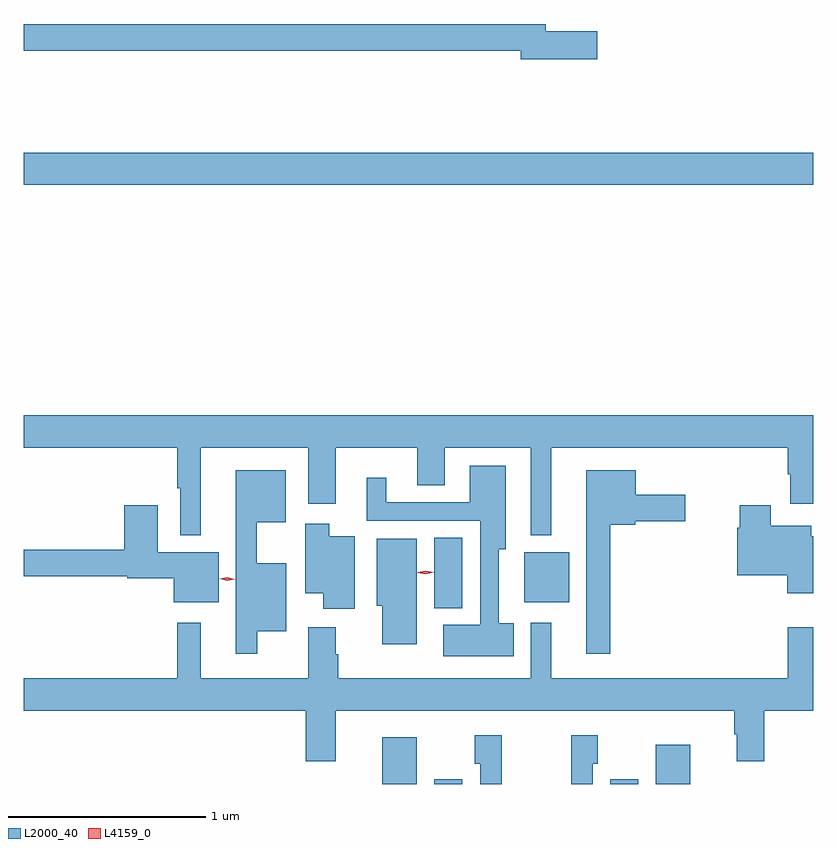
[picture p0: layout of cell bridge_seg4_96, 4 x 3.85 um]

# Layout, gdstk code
import gdstk
lib = gdstk.Library(unit=1e-6, precision=1e-09)
def R(c, l, rs):  # rectangles x0, y0, x1, y1
    for r in rs: c.add(gdstk.rectangle(r[:2], r[2:], *l))
def P(c, l, *ps):  # polygons
    for p in ps: c.add(gdstk.Polygon(p, *l))
L2000_40 = (2000, 40)
L4159_0 = (4159, 0)

bridge_seg4_96 = lib.new_cell('bridge_seg4_96')
R(bridge_seg4_96, L2000_40, [(457.016,797.78,457.192,798.016), (457.28,797.78,457.423,797.803), (458.171,797.78,458.314,797.803), (458.402,797.78,458.578,797.98), (457.28,798.671,457.423,799.028), (457.736,798.701,457.963,798.955), (455.2,800.816,459.2,800.98)])
P(bridge_seg4_96, L2000_40, [(458.107,801.596),(457.846,801.596),(457.846,801.632),(455.2,801.632),(455.2,801.496),(457.718,801.496),(457.718,801.454),(458.107,801.454)],
  [(456.097,799.484),(456.641,799.484),(456.641,799.2),(456.781,799.2),(456.781,799.484),(457.193,799.484),(457.193,799.294),(457.333,799.294),(457.333,799.484),(457.769,799.484),(457.769,799.04),(457.873,799.04),(457.873,799.484),(459.071,799.484),(459.071,799.35),(459.083,799.35),(459.083,799.2),(459.2,799.2),(459.2,799.648),(455.2,799.648),(455.2,799.484),(455.976,799.484),(455.976,799.279),(455.993,799.279),(455.993,799.04),(456.097,799.04)],
  [(457.684,798.594),(457.608,798.594),(457.608,798.971),(457.642,798.971),(457.642,799.393),(457.46,799.393),(457.46,799.209),(457.036,799.209),(457.036,799.333),(456.938,799.333),(456.938,799.113),(457.512,799.113),(457.512,798.586),(457.326,798.586),(457.326,798.428),(457.684,798.428)],
  [(458.173,799.094),(458.298,799.094),(458.298,799.112),(458.551,799.112),(458.551,799.246),(458.302,799.246),(458.302,799.369),(458.051,799.369),(458.051,798.441),(458.173,798.441)],
  [(456.382,798.554),(456.529,798.554),(456.529,798.898),(456.379,798.898),(456.379,799.106),(456.526,799.106),(456.526,799.369),(456.275,799.369),(456.275,798.441),(456.382,798.441)],
  [(459.2,799.036),(459.19,799.036),(459.19,799.09),(458.986,799.09),(458.986,799.192),(458.828,799.192),(458.828,799.079),(458.816,799.079),(458.816,798.839),(459.068,798.839),(459.068,798.746),(459.2,798.746)],
  [(456.187,798.955),(455.878,798.955),(455.878,799.192),(455.708,799.192),(455.708,798.968),(455.2,798.968),(455.2,798.832),(455.724,798.832),(455.724,798.824),(455.96,798.824),(455.96,798.701),(456.187,798.701)],
  [(456.877,799.036),(456.748,799.036),(456.748,799.099),(456.626,799.099),(456.626,798.746),(456.716,798.746),(456.716,798.669),(456.877,798.669)],
  [(457.192,799.024),(456.989,799.024),(456.989,798.684),(457.016,798.684),(457.016,798.488),(457.192,798.488)],
  [(456.781,798.152),(458.801,798.152),(458.801,798.032),(458.813,798.032),(458.813,797.895),(458.953,797.895),(458.953,798.152),(459.2,798.152),(459.2,798.574),(459.071,798.574),(459.071,798.316),(457.873,798.316),(457.873,798.598),(457.769,798.598),(457.769,798.316),(456.794,798.316),(456.794,798.437),(456.781,798.437),(456.781,798.574),(456.641,798.574),(456.641,798.316),(456.097,798.316),(456.097,798.598),(455.976,798.598),(455.976,798.316),(455.2,798.316),(455.2,798.152),(456.629,798.152),(456.629,797.895),(456.781,797.895)],
  [(457.621,798.028),(457.486,798.028),(457.486,797.883),(457.512,797.883),(457.512,797.78),(457.621,797.78)],
  [(458.082,797.883),(458.109,797.883),(458.109,798.028),(457.974,798.028),(457.974,797.78),(458.082,797.78)])
P(bridge_seg4_96, L4159_0, [(457.237,798.842),(457.197,798.851),(457.197,798.852),(457.197,798.852),(457.237,798.862),(457.277,798.853),(457.277,798.853),(457.277,798.852)],
  [(456.231,798.809),(456.192,798.82),(456.192,798.82),(456.192,798.82),(456.231,798.829),(456.269,798.818),(456.27,798.818),(456.269,798.817)])

lib.write_gds('bridge_seg4_96.gds')
